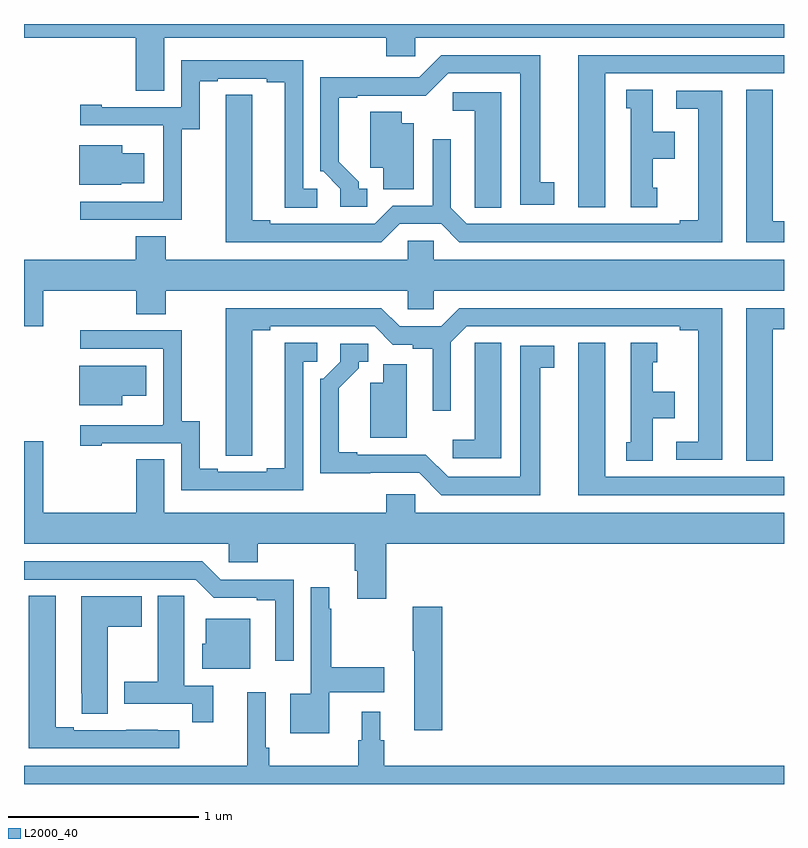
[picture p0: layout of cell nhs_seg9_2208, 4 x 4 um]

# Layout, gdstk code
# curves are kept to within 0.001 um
import gdstk
lib = gdstk.Library(unit=1e-6, precision=1e-09)
def P(c, l, *ps):  # polygons
    for p in ps: c.add(gdstk.Polygon(p, *l))
L2000_40 = (2000, 40)

nhs_seg9_2208 = lib.new_cell('nhs_seg9_2208')
P(nhs_seg9_2208, L2000_40, [(237.739,1188.428),(238.907,1188.428),(238.907,1188.33),(239.058,1188.33),(239.058,1188.428),(241,1188.428),(241,1188.5),(237,1188.5),(237,1188.428),(237.587,1188.428),(237.587,1188.148),(237.739,1188.148)],
  [(240.058,1188.24),(241,1188.24),(241,1188.336),(239.918,1188.336),(239.918,1187.535),(240.058,1187.535)],
  [(238.807,1187.634),(238.762,1187.634),(238.762,1187.669),(238.657,1187.774),(238.657,1188.111),(238.753,1188.111),(238.753,1188.123),(239.114,1188.122),(239.232,1188.24),(239.612,1188.24),(239.612,1187.55),(239.791,1187.55),(239.791,1187.666),(239.716,1187.666),(239.716,1188.336),(239.196,1188.336),(239.079,1188.219),(238.823,1188.219),(238.823,1188.221),(238.56,1188.221),(238.56,1187.724),(238.575,1187.724),(238.665,1187.634),(238.665,1187.538),(238.807,1187.538)],
  [(237.831,1187.947),(237.925,1187.947),(237.925,1188.198),(238.021,1188.198),(238.021,1188.213),(238.277,1188.213),(238.277,1188.193),(238.373,1188.193),(238.373,1187.533),(238.543,1187.533),(238.543,1187.634),(238.47,1187.634),(238.47,1188.309),(237.828,1188.309),(237.828,1188.063),(237.409,1188.063),(237.409,1188.076),(237.297,1188.076),(237.297,1187.967),(237.731,1187.967),(237.731,1187.966),(237.732,1187.966),(237.732,1187.565),(237.297,1187.565),(237.297,1187.469),(237.831,1187.469)],
  [(241,1187.463),(240.94,1187.463),(240.94,1188.155),(240.8,1188.155),(240.8,1187.352),(241,1187.352)],
  [(240.334,1187.637),(240.31,1187.637),(240.31,1187.792),(240.424,1187.792),(240.424,1187.932),(240.31,1187.932),(240.31,1188.155),(240.17,1188.155),(240.17,1188.057),(240.194,1188.057),(240.194,1187.535),(240.334,1187.535)],
  [(238.977,1187.448),(239.195,1187.448),(239.291,1187.352),(240.676,1187.352),(240.676,1188.15),(240.432,1188.15),(240.432,1188.054),(240.548,1188.054),(240.548,1187.468),(240.452,1187.468),(240.452,1187.448),(239.331,1187.448),(239.247,1187.532),(239.247,1187.893),(239.151,1187.893),(239.151,1187.544),(238.941,1187.544),(238.845,1187.448),(238.297,1187.448),(238.297,1187.468),(238.201,1187.468),(238.201,1188.128),(238.062,1188.128),(238.061,1187.352),(238.881,1187.352)],
  [(239.512,1188.141),(239.256,1188.141),(239.256,1188.044),(239.372,1188.044),(239.372,1187.641),(239.373,1187.641),(239.373,1187.533),(239.512,1187.533)],
  [(239.05,1187.977),(238.987,1187.977),(238.987,1188.038),(238.823,1188.038),(238.823,1187.744),(238.892,1187.744),(238.892,1187.629),(239.05,1187.629)],
  [(237.513,1187.663),(237.634,1187.663),(237.634,1187.821),(237.517,1187.821),(237.517,1187.863),(237.29,1187.863),(237.29,1187.654),(237.513,1187.654)],
  [(237.1,1187.096),(237.592,1187.096),(237.592,1186.972),(237.747,1186.972),(237.747,1187.096),(239.019,1187.096),(239.019,1186.998),(239.157,1186.998),(239.157,1187.096),(241,1187.096),(241,1187.26),(239.157,1187.26),(239.157,1187.358),(239.019,1187.358),(239.019,1187.26),(237.747,1187.26),(237.747,1187.384),(237.587,1187.384),(237.587,1187.26),(237,1187.26),(237,1186.908),(237.1,1186.908)],
  [(240.676,1187.004),(239.291,1187.004),(239.195,1186.908),(238.977,1186.908),(238.881,1187.004),(238.061,1187.004),(238.062,1186.228),(238.201,1186.228),(238.201,1186.888),(238.297,1186.888),(238.297,1186.908),(238.845,1186.908),(238.941,1186.812),(239.046,1186.812),(239.046,1186.792),(239.15,1186.792),(239.15,1186.464),(239.247,1186.464),(239.247,1186.824),(239.331,1186.908),(240.452,1186.908),(240.452,1186.888),(240.548,1186.888),(240.548,1186.302),(240.432,1186.302),(240.432,1186.206),(240.676,1186.206)],
  [(240.94,1186.893),(241,1186.893),(241,1187.004),(240.8,1187.004),(240.8,1186.201),(240.94,1186.201)],
  [(238.47,1186.722),(238.543,1186.722),(238.543,1186.823),(238.373,1186.823),(238.373,1186.163),(238.277,1186.163),(238.277,1186.143),(238.021,1186.143),(238.021,1186.158),(237.925,1186.158),(237.925,1186.409),(237.831,1186.409),(237.831,1186.887),(237.297,1186.887),(237.297,1186.791),(237.732,1186.791),(237.732,1186.39),(237.731,1186.39),(237.731,1186.389),(237.297,1186.389),(237.297,1186.281),(237.409,1186.281),(237.409,1186.293),(237.828,1186.293),(237.828,1186.047),(238.47,1186.047)],
  [(239.512,1186.823),(239.373,1186.823),(239.373,1186.715),(239.372,1186.715),(239.372,1186.312),(239.256,1186.312),(239.256,1186.215),(239.512,1186.215)],
  [(240.31,1186.424),(240.424,1186.424),(240.424,1186.564),(240.31,1186.564),(240.31,1186.719),(240.334,1186.719),(240.334,1186.822),(240.194,1186.822),(240.194,1186.299),(240.17,1186.299),(240.17,1186.201),(240.31,1186.201)],
  [(241,1186.116),(240.058,1186.116),(240.058,1186.822),(239.918,1186.822),(239.918,1186.02),(241,1186.02)],
  [(239.716,1186.69),(239.791,1186.69),(239.791,1186.806),(239.612,1186.806),(239.612,1186.116),(239.232,1186.116),(239.115,1186.233),(238.753,1186.233),(238.753,1186.246),(238.657,1186.246),(238.657,1186.582),(238.762,1186.687),(238.762,1186.722),(238.812,1186.722),(238.812,1186.818),(238.665,1186.818),(238.665,1186.722),(238.575,1186.632),(238.56,1186.632),(238.56,1186.136),(239.079,1186.137),(239.196,1186.02),(239.716,1186.02)],
  [(239.014,1186.71),(238.892,1186.71),(238.892,1186.612),(238.823,1186.612),(238.823,1186.322),(239.014,1186.322)],
  [(237.517,1186.544),(237.643,1186.544),(237.643,1186.702),(237.29,1186.702),(237.29,1186.493),(237.517,1186.493)],
  [(238.907,1186.026),(238.907,1185.928),(237.739,1185.928),(237.739,1186.208),(237.592,1186.208),(237.592,1185.928),(237.1,1185.928),(237.1,1186.303),(237,1186.303),(237,1185.764),(238.077,1185.764),(238.077,1185.666),(238.229,1185.666),(238.229,1185.764),(238.742,1185.764),(238.742,1185.622),(238.754,1185.622),(238.754,1185.474),(238.907,1185.474),(238.907,1185.764),(241,1185.764),(241,1185.928),(239.058,1185.928),(239.058,1186.026)],
  [(238.419,1185.576),(238.035,1185.576),(237.939,1185.672),(237,1185.672),(237,1185.576),(237.903,1185.576),(237.999,1185.48),(238.226,1185.48),(238.226,1185.468),(238.322,1185.468),(238.322,1185.15),(238.419,1185.15)],
  [(238.606,1184.984),(238.897,1184.984),(238.897,1185.114),(238.618,1185.114),(238.618,1185.422),(238.606,1185.422),(238.606,1185.535),(238.509,1185.535),(238.509,1184.974),(238.4,1184.974),(238.4,1184.768),(238.606,1184.768)],
  [(237.995,1185.018),(237.844,1185.018),(237.844,1185.38),(237.843,1185.38),(237.843,1185.491),(237.704,1185.491),(237.704,1185.039),(237.527,1185.039),(237.527,1184.922),(237.886,1184.922),(237.886,1184.826),(237.995,1184.826)],
  [(237.817,1184.784),(237.704,1184.784),(237.704,1184.785),(237.538,1184.785),(237.538,1184.784),(237.262,1184.784),(237.262,1184.799),(237.166,1184.799),(237.166,1185.491),(237.026,1185.491),(237.026,1184.688),(237.817,1184.688)],
  [(237.442,1185.328),(237.619,1185.328),(237.619,1185.487),(237.302,1185.487),(237.302,1184.977),(237.303,1184.977),(237.303,1184.869),(237.442,1184.869)],
  [(239.201,1185.433),(239.047,1185.433),(239.047,1185.202),(239.054,1185.202),(239.054,1184.784),(239.201,1184.784)],
  [(238.192,1185.37),(237.956,1185.37),(237.956,1185.237),(237.938,1185.237),(237.938,1185.107),(238.192,1185.107)],
  [(241,1184.596),(238.895,1184.596),(238.895,1184.73),(238.876,1184.73),(238.876,1184.881),(238.778,1184.881),(238.778,1184.73),(238.759,1184.73),(238.759,1184.596),(238.292,1184.596),(238.292,1184.692),(238.272,1184.692),(238.272,1184.983),(238.175,1184.983),(238.175,1184.596),(237,1184.596),(237,1184.5),(241,1184.5)])

lib.write_gds('nhs_seg9_2208.gds')
